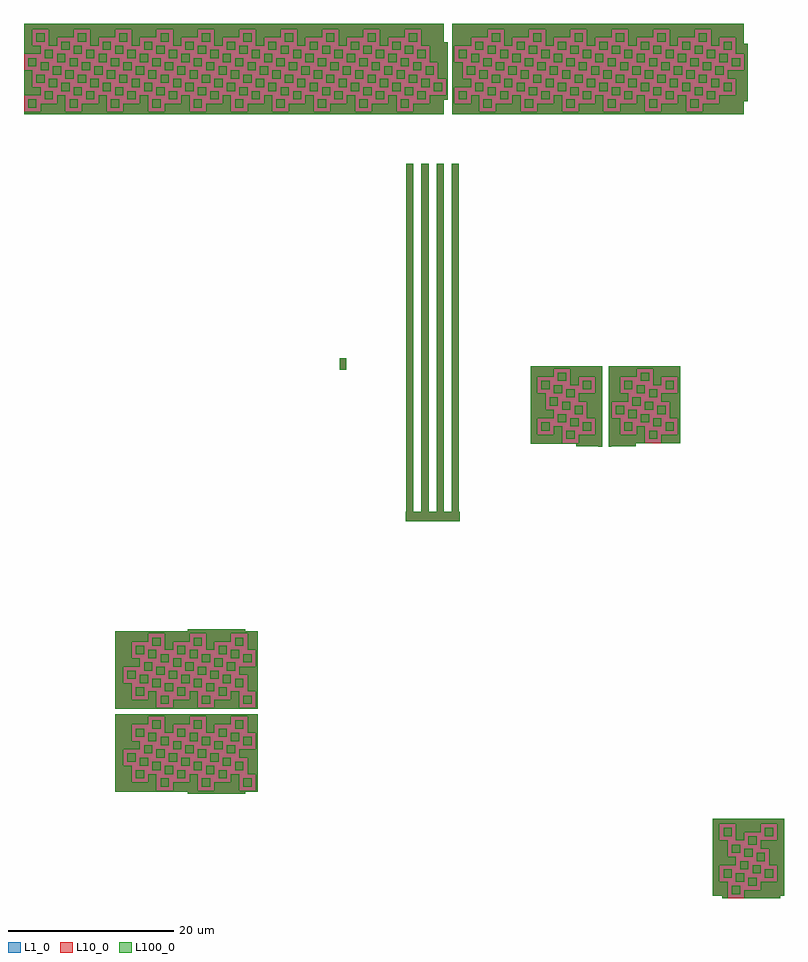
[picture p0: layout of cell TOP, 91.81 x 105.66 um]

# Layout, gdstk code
import gdstk
lib = gdstk.Library(unit=1e-6, precision=1e-09)
def R(c, l, rs):  # rectangles x0, y0, x1, y1
    for r in rs: c.add(gdstk.rectangle(r[:2], r[2:], *l))
def A(c, l, x, y, w, h, nx, ny, dx, dy):  # array of equal rectangles
    R(c, l, [(x+i*dx, y+j*dy, x+i*dx+w, y+j*dy+h) for i in range(nx) for j in range(ny)])
def P(c, l, *ps):  # polygons
    for p in ps: c.add(gdstk.Polygon(p, *l))
L1_0 = (1, 0)
L10_0 = (10, 0)
L100_0 = (100, 0)

pat1 = lib.new_cell('PAT1')
R(pat1, L100_0, [(0,0,1,1)])

top = lib.new_cell('TOP')
R(top, L1_0, [(38.14,63.84,38.95,65.24)])
P(top, L1_0, [(0,94.703),(0,105.656),(50.732,105.656),(50.732,103.431),(51.214,103.431),(51.214,96.462),(50.732,96.462),(50.732,94.703)],
  [(51.75,94.703),(51.75,105.656),(86.941,105.656),(86.941,103.259),(87.423,103.259),(87.423,96.29),(86.941,96.29),(86.941,94.703)],
  [(70.622,54.579),(70.622,64.274),(79.247,64.274),(79.247,54.959),(73.881,54.959),(73.881,54.614),(70.949,54.614),(70.949,54.579)],
  [(84.353,0),(84.353,0.311),(83.18,0.311),(83.18,9.626),(91.805,9.626),(91.805,0.311),(91.322,0.311),(91.322,0)],
  [(11.006,22.874),(11.006,32.24),(19.768,32.24),(19.768,32.499),(26.738,32.499),(26.738,32.24),(28.256,32.24),(28.256,22.874)],
  [(46.108,45.575),(46.108,46.679),(46.178,46.679),(46.178,88.734),(47.04,88.734),(47.04,46.679),(48.006,46.679),(48.006,88.734),(48.868,88.734),(48.868,46.679),(49.834,46.679),(49.834,88.734),(50.697,88.734),(50.697,46.679),(51.663,46.679),(51.663,88.734),(52.526,88.734),(52.526,46.679),(52.629,46.679),(52.629,45.575)],
  [(19.768,12.609),(19.768,12.869),(11.006,12.869),(11.006,22.235),(28.256,22.235),(28.256,12.869),(26.738,12.869),(26.738,12.609)],
  [(69.396,54.579),(69.396,54.614),(66.705,54.614),(66.705,54.906),(61.203,54.906),(61.203,64.274),(69.828,64.274),(69.828,54.579)])
R(top, L10_0, [(38.14,63.84,38.95,65.24)])
P(top, L10_0, [(0,94.703),(0,105.656),(50.732,105.656),(50.732,103.431),(51.214,103.431),(51.214,96.462),(50.732,96.462),(50.732,94.703)],
  [(51.75,94.703),(51.75,105.656),(86.941,105.656),(86.941,103.259),(87.423,103.259),(87.423,96.29),(86.941,96.29),(86.941,94.703)],
  [(70.622,54.579),(70.622,64.274),(79.247,64.274),(79.247,54.959),(73.881,54.959),(73.881,54.614),(70.949,54.614),(70.949,54.579)],
  [(84.353,0),(84.353,0.311),(83.18,0.311),(83.18,9.626),(91.805,9.626),(91.805,0.311),(91.322,0.311),(91.322,0)],
  [(11.006,22.874),(11.006,32.24),(19.768,32.24),(19.768,32.499),(26.738,32.499),(26.738,32.24),(28.256,32.24),(28.256,22.874)],
  [(46.108,45.575),(46.108,46.679),(46.178,46.679),(46.178,88.734),(47.04,88.734),(47.04,46.679),(48.006,46.679),(48.006,88.734),(48.868,88.734),(48.868,46.679),(49.834,46.679),(49.834,88.734),(50.697,88.734),(50.697,46.679),(51.663,46.679),(51.663,88.734),(52.526,88.734),(52.526,46.679),(52.629,46.679),(52.629,45.575)],
  [(19.768,12.609),(19.768,12.869),(11.006,12.869),(11.006,22.235),(28.256,22.235),(28.256,12.869),(26.738,12.869),(26.738,12.609)],
  [(69.396,54.579),(69.396,54.614),(66.705,54.614),(66.705,54.906),(61.203,54.906),(61.203,64.274),(69.828,64.274),(69.828,54.579)])
A(top, L100_0, 14, 16, 1, 1, 3, 2, 5, 10)
A(top, L100_0, 15, 19, 0.903, 1, 3, 2, 5, 10)
A(top, L100_0, 15.903, 19, 0.097, 1, 3, 2, 5, 10)
A(top, L100_0, 46.178, 47.828, 0.862, 5, 1, 8, 0, 5)
A(top, L100_0, 48.006, 47.828, 0.862, 5, 1, 8, 0, 5)
A(top, L100_0, 49.834, 47.828, 0.863, 5, 1, 8, 0, 5)
A(top, L100_0, 51.663, 47.828, 0.863, 5, 1, 8, 0, 5)
A(top, L100_0, 6, 97, 1, 0.828, 9, 2, 5, 5)
A(top, L100_0, 56, 97, 1, 0.828, 6, 2, 5, 5)
A(top, L100_0, 6, 97.828, 1, 0.172, 9, 2, 5, 5)
A(top, L100_0, 56, 97.828, 1, 0.172, 6, 2, 5, 5)
A(top, L100_0, 3, 98, 1, 1, 10, 1, 5, 0)
A(top, L100_0, 58, 98, 1, 1, 6, 1, 5, 0)
A(top, L100_0, 5, 99, 0.903, 1, 9, 1, 5, 0)
A(top, L100_0, 5.903, 99, 0.097, 1, 9, 1, 5, 0)
A(top, L100_0, 55, 99, 0.903, 1, 7, 1, 5, 0)
A(top, L100_0, 55.903, 99, 0.097, 1, 6, 1, 5, 0)
A(top, L100_0, 2, 100, 1, 1, 10, 1, 5, 0)
A(top, L100_0, 57, 100, 1, 1, 6, 1, 5, 0)
A(top, L100_0, 4, 101, 1, 1, 9, 1, 5, 0)
A(top, L100_0, 54, 101, 1, 1, 7, 1, 5, 0)
R(top, L100_0, [(86,2,87,2.828), (86,2.828,87,3), (88,3,89,4), (85.903,4,86,5), (87,5,88,6), (86,7,87,7.828), (19.768,12.609,20.903,12.828), (20.903,12.609,25.903,12.828), (25.903,12.609,26.738,12.828), (17,15,18,16), (22,15,23,16), (16,17,17,17.828), (21,17,22,17.828), (16,17.828,17,18), (21,17.828,22,18), (18,18,19,19), (23,18,24,19), (17,25,18,26), (22,25,23,26), (16,27,17,27.828), (21,27,22,27.828), (16,27.828,17,28), (21,27.828,22,28), (18,28,19,29), (23,28,24,29), (70.622,54.579,70.903,57.828), (66,57,67,57.828), (76,57,77,57.828), (66,57.828,67,58), (70.622,57.828,70.903,62.828), (76,57.828,77,58), (73,58,74,59), (65,59,65.903,60), (65.903,59,66,60), (75,59,75.903,60), (75.903,59,76,60), (64,61,65,62), (74,61,75,62), (66,62,67,62.828), (76,62,77,62.828), (70.622,62.828,70.903,64.274), (38.14,63.84,38.95,65.24), (46.178,87.828,47.04,88.734), (48.006,87.828,48.868,88.734), (49.834,87.828,50.697,88.734), (51.663,87.828,52.526,88.734), (0,94.703,0.903,95), (0,97,0.903,97.828), (0.903,97,2,97.828), (0,97.828,0.903,100), (0,102,0.903,102.828), (0.903,102,2,102.828), (0,102.828,0.903,105.656), (50.903,102.828,51.214,103.431)])
P(top, L100_0, [(40.903,94.703),(40.903,95),(42,95),(42,96),(44,96),(44,97),(45,97),(45,95),(45.903,95),(45.903,94.703)],
  [(43,103),(43,105),(41,105),(41,104),(40.903,104),(40.903,105.656),(45.903,105.656),(45.903,104),(44,104),(44,103)],
  [(69.396,54.579),(69.396,54.614),(66.705,54.614),(66.705,54.906),(65.903,54.906),(65.903,55),(67,55),(67,56),(69,56),(69,57.828),(69.828,57.828),(69.828,54.579)],
  [(69,57.828),(69,58),(68,58),(68,60),(67,60),(67,61),(69,61),(69,62.828),(69.828,62.828),(69.828,57.828)],
  [(66,62.828),(66,64),(65.903,64),(65.903,64.274),(69.828,64.274),(69.828,62.828),(69,62.828),(69,63),(67,63),(67,62.828)],
  [(65.903,94.703),(65.903,95),(67,95),(67,96),(69,96),(69,97),(70,97),(70,95),(70.903,95),(70.903,94.703)],
  [(68,103),(68,105),(66,105),(66,104),(65.903,104),(65.903,105.656),(70.903,105.656),(70.903,104),(69,104),(69,103)],
  [(70.903,94.703),(70.903,95),(72,95),(72,96),(74,96),(74,97),(75,97),(75,95),(75.903,95),(75.903,94.703)],
  [(73,103),(73,105),(71,105),(71,104),(70.903,104),(70.903,105.656),(75.903,105.656),(75.903,104),(74,104),(74,103)],
  [(75.903,94.703),(75.903,95),(77,95),(77,96),(79,96),(79,97),(80,97),(80,95),(80.903,95),(80.903,94.703)],
  [(78,103),(78,105),(76,105),(76,104),(75.903,104),(75.903,105.656),(80.903,105.656),(80.903,104),(79,104),(79,103)],
  [(80.903,94.703),(80.903,95),(82,95),(82,96),(84,96),(84,97),(85.903,97),(85.903,94.703)],
  [(83,103),(83,105),(81,105),(81,104),(80.903,104),(80.903,105.656),(85.903,105.656),(85.903,104),(84,104),(84,103)],
  [(85.903,94.703),(85.903,97),(86,97),(86,97.828),(87.423,97.828),(87.423,96.29),(86.941,96.29),(86.941,94.703)],
  [(86,97.828),(86,99),(85.903,99),(85.903,100),(87,100),(87,102),(86,102),(86,102.828),(87.423,102.828),(87.423,97.828)],
  [(86,102.828),(86,104),(85.903,104),(85.903,105.656),(86.941,105.656),(86.941,103.259),(87.423,103.259),(87.423,102.828)],
  [(63,103),(63,105),(61,105),(61,104),(60.903,104),(60.903,105.656),(65.903,105.656),(65.903,104),(64,104),(64,103)],
  [(45.903,94.703),(45.903,95),(47,95),(47,96),(49,96),(49,97),(50.903,97),(50.903,96.462),(50.732,96.462),(50.732,94.703)],
  [(50,99),(50,101),(49,101),(49,102.828),(50.903,102.828),(50.903,99)],
  [(49,102.828),(49,103),(48,103),(48,105),(46,105),(46,104),(45.903,104),(45.903,105.656),(50.732,105.656),(50.732,103.431),(50.903,103.431),(50.903,102.828)],
  [(50.903,96.462),(50.903,97),(51,97),(51,97.828),(51.214,97.828),(51.214,96.462)],
  [(51.75,94.703),(51.75,97.828),(52,97.828),(52,96),(54,96),(54,97),(55,97),(55,95),(55.903,95),(55.903,94.703)],
  [(51,97.828),(51,99),(50.903,99),(50.903,102.828),(51.214,102.828),(51.214,97.828)],
  [(51.75,97.828),(51.75,102.828),(52,102.828),(52,101),(53,101),(53,99),(54,99),(54,98),(52,98),(52,97.828)],
  [(51.75,102.828),(51.75,105.656),(55.903,105.656),(55.903,104),(54,104),(54,103),(52,103),(52,102.828)],
  [(55.903,94.703),(55.903,95),(57,95),(57,96),(59,96),(59,97),(60,97),(60,95),(60.903,95),(60.903,94.703)],
  [(58,103),(58,105),(56,105),(56,104),(55.903,104),(55.903,105.656),(60.903,105.656),(60.903,104),(59,104),(59,103)],
  [(60.903,94.703),(60.903,95),(62,95),(62,96),(64,96),(64,97),(65,97),(65,95),(65.903,95),(65.903,94.703)],
  [(61.203,54.906),(61.203,57.828),(62,57.828),(62,56),(64,56),(64,57),(65,57),(65,55),(65.903,55),(65.903,54.906)],
  [(61.203,57.828),(61.203,62.828),(62,62.828),(62,61),(63,61),(63,59),(64,59),(64,58),(62,58),(62,57.828)],
  [(61.203,62.828),(61.203,64.274),(65.903,64.274),(65.903,64),(64,64),(64,63),(62,63),(62,62.828)],
  [(75.903,54.959),(75.903,55),(77,55),(77,56),(79,56),(79,57.828),(79.247,57.828),(79.247,54.959)],
  [(79,57.828),(79,58),(78,58),(78,60),(77,60),(77,61),(79,61),(79,62.828),(79.247,62.828),(79.247,57.828)],
  [(76,62.828),(76,64),(75.903,64),(75.903,64.274),(79.247,64.274),(79.247,62.828),(79,62.828),(79,63),(77,63),(77,62.828)],
  [(70.903,54.579),(70.903,57.828),(72,57.828),(72,56),(74,56),(74,57),(75,57),(75,55),(75.903,55),(75.903,54.959),(73.881,54.959),(73.881,54.614),(70.949,54.614),(70.949,54.579)],
  [(70.903,57.828),(70.903,62.828),(72,62.828),(72,61),(73,61),(73,60),(71,60),(71,58),(72,58),(72,57.828)],
  [(70.903,62.828),(70.903,64.274),(75.903,64.274),(75.903,64),(74,64),(74,63),(72,63),(72,62.828)],
  [(23,103),(23,105),(21,105),(21,104),(20.903,104),(20.903,105.656),(25.903,105.656),(25.903,104),(24,104),(24,103)],
  [(25.903,94.703),(25.903,95),(27,95),(27,96),(29,96),(29,97),(30,97),(30,95),(30.903,95),(30.903,94.703)],
  [(28,103),(28,105),(26,105),(26,104),(25.903,104),(25.903,105.656),(30.903,105.656),(30.903,104),(29,104),(29,103)],
  [(30.903,94.703),(30.903,95),(32,95),(32,96),(34,96),(34,97),(35,97),(35,95),(35.903,95),(35.903,94.703)],
  [(33,103),(33,105),(31,105),(31,104),(30.903,104),(30.903,105.656),(35.903,105.656),(35.903,104),(34,104),(34,103)],
  [(35.903,94.703),(35.903,95),(37,95),(37,96),(39,96),(39,97),(40,97),(40,95),(40.903,95),(40.903,94.703)],
  [(38,103),(38,105),(36,105),(36,104),(35.903,104),(35.903,105.656),(40.903,105.656),(40.903,104),(39,104),(39,103)],
  [(0.903,94.703),(0.903,95),(2,95),(2,96),(4,96),(4,97),(5,97),(5,95),(5.903,95),(5.903,94.703)],
  [(0.903,97.828),(0.903,100),(1,100),(1,98),(2,98),(2,97.828)],
  [(0.903,102.828),(0.903,105.656),(5.903,105.656),(5.903,104),(4,104),(4,103),(3,103),(3,105),(1,105),(1,103),(2,103),(2,102.828)],
  [(5.903,94.703),(5.903,95),(7,95),(7,96),(9,96),(9,97),(10,97),(10,95),(10.903,95),(10.903,94.703)],
  [(8,103),(8,105),(6,105),(6,104),(5.903,104),(5.903,105.656),(10.903,105.656),(10.903,104),(9,104),(9,103)],
  [(10.903,94.703),(10.903,95),(12,95),(12,96),(14,96),(14,97),(15,97),(15,95),(15.903,95),(15.903,94.703)],
  [(13,103),(13,105),(11,105),(11,104),(10.903,104),(10.903,105.656),(15.903,105.656),(15.903,104),(14,104),(14,103)],
  [(15.903,94.703),(15.903,95),(17,95),(17,96),(19,96),(19,97),(20,97),(20,95),(20.903,95),(20.903,94.703)],
  [(18,103),(18,105),(16,105),(16,104),(15.903,104),(15.903,105.656),(20.903,105.656),(20.903,104),(19,104),(19,103)],
  [(20.903,94.703),(20.903,95),(22,95),(22,96),(24,96),(24,97),(25,97),(25,95),(25.903,95),(25.903,94.703)],
  [(22,30),(22,32),(20.903,32),(20.903,32.499),(25.903,32.499),(25.903,32),(25,32),(25,31),(23,31),(23,30)],
  [(19.768,12.828),(19.768,12.869),(15.903,12.869),(15.903,15),(16,15),(16,13),(18,13),(18,14),(20,14),(20,15),(20.903,15),(20.903,12.828)],
  [(17,20),(17,22),(15.903,22),(15.903,22.235),(20.903,22.235),(20.903,22),(20,22),(20,21),(18,21),(18,20)],
  [(15.903,22.874),(15.903,25),(16,25),(16,23),(18,23),(18,24),(20,24),(20,25),(20.903,25),(20.903,22.874)],
  [(25.903,12.828),(25.903,15),(26,15),(26,13),(28,13),(28,15),(27,15),(27,17),(26,17),(26,17.828),(28.256,17.828),(28.256,12.869),(26.738,12.869),(26.738,12.828)],
  [(26,17.828),(26,18),(28,18),(28,20),(27,20),(27,22),(25.903,22),(25.903,22.235),(28.256,22.235),(28.256,17.828)],
  [(25.903,22.874),(25.903,25),(26,25),(26,23),(28,23),(28,25),(27,25),(27,27),(26,27),(26,27.828),(28.256,27.828),(28.256,22.874)],
  [(26,27.828),(26,28),(28,28),(28,30),(27,30),(27,32),(25.903,32),(25.903,32.499),(26.738,32.499),(26.738,32.24),(28.256,32.24),(28.256,27.828)],
  [(17,30),(17,32),(15.903,32),(15.903,32.24),(19.768,32.24),(19.768,32.499),(20.903,32.499),(20.903,32),(20,32),(20,31),(18,31),(18,30)],
  [(11.006,17.828),(11.006,22.235),(15.903,22.235),(15.903,22),(15,22),(15,21),(13,21),(13,19),(14,19),(14,18),(12,18),(12,17.828)],
  [(11.006,22.874),(11.006,27.828),(12,27.828),(12,26),(13,26),(13,24),(15,24),(15,25),(15.903,25),(15.903,22.874)],
  [(11.006,27.828),(11.006,32.24),(15.903,32.24),(15.903,32),(15,32),(15,31),(13,31),(13,29),(14,29),(14,28),(12,28),(12,27.828)],
  [(11.006,12.869),(11.006,17.828),(12,17.828),(12,16),(13,16),(13,14),(15,14),(15,15),(15.903,15),(15.903,12.869)],
  [(20.903,12.828),(20.903,15),(21,15),(21,13),(23,13),(23,14),(25,14),(25,15),(25.903,15),(25.903,12.828)],
  [(22,20),(22,22),(20.903,22),(20.903,22.235),(25.903,22.235),(25.903,22),(25,22),(25,21),(23,21),(23,20)],
  [(20.903,22.874),(20.903,25),(21,25),(21,23),(23,23),(23,24),(25,24),(25,25),(25.903,25),(25.903,22.874)],
  [(46.108,45.575),(46.108,46.679),(46.178,46.679),(46.178,47.828),(47.04,47.828),(47.04,46.679),(48.006,46.679),(48.006,47.828),(48.868,47.828),(48.868,46.679),(49.834,46.679),(49.834,47.828),(50.697,47.828),(50.697,46.679),(50.903,46.679),(50.903,45.575)],
  [(84.353,0),(84.353,0.311),(83.18,0.311),(83.18,2.828),(84,2.828),(84,2),(85,2),(85,0)],
  [(83.18,2.828),(83.18,7.828),(84,7.828),(84,7),(85,7),(85,5),(85.903,5),(85.903,4),(84,4),(84,2.828)],
  [(83.18,7.828),(83.18,9.626),(85.903,9.626),(85.903,9),(84,9),(84,7.828)],
  [(50.903,45.575),(50.903,46.679),(51.663,46.679),(51.663,47.828),(52.526,47.828),(52.526,46.679),(52.629,46.679),(52.629,45.575)],
  [(87,0),(87,1),(89,1),(89,2),(90.903,2),(90.903,0)],
  [(90,4),(90,6),(89,6),(89,7),(90.903,7),(90.903,4)],
  [(86,7.828),(86,9),(85.903,9),(85.903,9.626),(90.903,9.626),(90.903,9),(89,9),(89,8),(87,8),(87,7.828)],
  [(90.903,0),(90.903,2),(91,2),(91,2.828),(91.805,2.828),(91.805,0.311),(91.322,0.311),(91.322,0)],
  [(91,2.828),(91,4),(90.903,4),(90.903,7),(91,7),(91,7.828),(91.805,7.828),(91.805,2.828)],
  [(91,7.828),(91,9),(90.903,9),(90.903,9.626),(91.805,9.626),(91.805,7.828)])
r = gdstk.Reference(pat1, (40.5,95.5)); r.repetition = gdstk.Repetition(2, 1, v1=(5,0), v2=(0,0)); top.add(r)
r = gdstk.Reference(pat1, (40.5,100.5)); r.repetition = gdstk.Repetition(2, 1, v1=(5,0), v2=(0,0)); top.add(r)
r = gdstk.Reference(pat1, (44.5,97.5)); r.repetition = gdstk.Repetition(2, 1, v1=(5,0), v2=(0,0)); top.add(r)
top.add(gdstk.Reference(pat1, (67.5,56.5)))
r = gdstk.Reference(pat1, (67.5,56.5)); r.repetition = gdstk.Repetition(1, 2, v1=(0,0), v2=(0,5)); top.add(r)
top.add(gdstk.Reference(pat1, (67.5,61.5)))
r = gdstk.Reference(pat1, (65.5,95.5)); r.repetition = gdstk.Repetition(2, 1, v1=(5,0), v2=(0,0)); top.add(r)
top.add(gdstk.Reference(pat1, (67.5,96.5)))
r = gdstk.Reference(pat1, (64.5,97.5)); r.repetition = gdstk.Repetition(2, 1, v1=(5,0), v2=(0,0)); top.add(r)
r = gdstk.Reference(pat1, (65.5,100.5)); r.repetition = gdstk.Repetition(2, 1, v1=(5,0), v2=(0,0)); top.add(r)
r = gdstk.Reference(pat1, (67.5,96.5)); r.repetition = gdstk.Repetition(1, 2, v1=(0,0), v2=(0,5)); top.add(r)
r = gdstk.Reference(pat1, (64.5,97.5)); r.repetition = gdstk.Repetition(2, 2, v1=(5,0), v2=(0,5)); top.add(r)
top.add(gdstk.Reference(pat1, (67.5,101.5)))
r = gdstk.Reference(pat1, (64.5,102.5)); r.repetition = gdstk.Repetition(2, 1, v1=(5,0), v2=(0,0)); top.add(r)
top.add(gdstk.Reference(pat1, (68.5,99.5)))
r = gdstk.Reference(pat1, (70.5,95.5)); r.repetition = gdstk.Repetition(2, 1, v1=(5,0), v2=(0,0)); top.add(r)
top.add(gdstk.Reference(pat1, (72.5,96.5)))
r = gdstk.Reference(pat1, (69.5,97.5)); r.repetition = gdstk.Repetition(2, 1, v1=(5,0), v2=(0,0)); top.add(r)
r = gdstk.Reference(pat1, (70.5,100.5)); r.repetition = gdstk.Repetition(2, 1, v1=(5,0), v2=(0,0)); top.add(r)
r = gdstk.Reference(pat1, (72.5,96.5)); r.repetition = gdstk.Repetition(1, 2, v1=(0,0), v2=(0,5)); top.add(r)
r = gdstk.Reference(pat1, (69.5,97.5)); r.repetition = gdstk.Repetition(2, 2, v1=(5,0), v2=(0,5)); top.add(r)
top.add(gdstk.Reference(pat1, (71.5,98.5)))
top.add(gdstk.Reference(pat1, (73.5,99.5)))
top.add(gdstk.Reference(pat1, (72.5,101.5)))
r = gdstk.Reference(pat1, (69.5,102.5)); r.repetition = gdstk.Repetition(2, 1, v1=(5,0), v2=(0,0)); top.add(r)
top.add(gdstk.Reference(pat1, (71.5,103.5)))
r = gdstk.Reference(pat1, (75.5,95.5)); r.repetition = gdstk.Repetition(2, 1, v1=(5,0), v2=(0,0)); top.add(r)
top.add(gdstk.Reference(pat1, (77.5,96.5)))
r = gdstk.Reference(pat1, (74.5,97.5)); r.repetition = gdstk.Repetition(2, 1, v1=(5,0), v2=(0,0)); top.add(r)
r = gdstk.Reference(pat1, (75.5,100.5)); r.repetition = gdstk.Repetition(2, 1, v1=(5,0), v2=(0,0)); top.add(r)
r = gdstk.Reference(pat1, (77.5,96.5)); r.repetition = gdstk.Repetition(1, 2, v1=(0,0), v2=(0,5)); top.add(r)
r = gdstk.Reference(pat1, (74.5,97.5)); r.repetition = gdstk.Repetition(2, 2, v1=(5,0), v2=(0,5)); top.add(r)
top.add(gdstk.Reference(pat1, (76.5,98.5)))
top.add(gdstk.Reference(pat1, (78.5,99.5)))
top.add(gdstk.Reference(pat1, (77.5,101.5)))
r = gdstk.Reference(pat1, (74.5,102.5)); r.repetition = gdstk.Repetition(2, 1, v1=(5,0), v2=(0,0)); top.add(r)
top.add(gdstk.Reference(pat1, (76.5,103.5)))
top.add(gdstk.Reference(pat1, (80.5,95.5)))
top.add(gdstk.Reference(pat1, (82.5,96.5)))
r = gdstk.Reference(pat1, (79.5,97.5)); r.repetition = gdstk.Repetition(2, 1, v1=(5,0), v2=(0,0)); top.add(r)
r = gdstk.Reference(pat1, (80.5,100.5)); r.repetition = gdstk.Repetition(2, 1, v1=(5,0), v2=(0,0)); top.add(r)
r = gdstk.Reference(pat1, (82.5,96.5)); r.repetition = gdstk.Repetition(1, 2, v1=(0,0), v2=(0,5)); top.add(r)
r = gdstk.Reference(pat1, (79.5,97.5)); r.repetition = gdstk.Repetition(2, 2, v1=(5,0), v2=(0,5)); top.add(r)
top.add(gdstk.Reference(pat1, (81.5,98.5)))
top.add(gdstk.Reference(pat1, (83.5,99.5)))
top.add(gdstk.Reference(pat1, (82.5,101.5)))
r = gdstk.Reference(pat1, (79.5,102.5)); r.repetition = gdstk.Repetition(2, 1, v1=(5,0), v2=(0,0)); top.add(r)
top.add(gdstk.Reference(pat1, (81.5,103.5)))
top.add(gdstk.Reference(pat1, (84.5,97.5)))
top.add(gdstk.Reference(pat1, (85.5,100.5)))
r = gdstk.Reference(pat1, (84.5,97.5)); r.repetition = gdstk.Repetition(1, 2, v1=(0,0), v2=(0,5)); top.add(r)
top.add(gdstk.Reference(pat1, (84.5,102.5)))
top.add(gdstk.Reference(pat1, (47.5,101.5)))
top.add(gdstk.Reference(pat1, (46.5,103.5)))
top.add(gdstk.Reference(pat1, (66.5,98.5)))
top.add(gdstk.Reference(pat1, (49.5,97.5)))
top.add(gdstk.Reference(pat1, (55.5,95.5)))
top.add(gdstk.Reference(pat1, (52.5,96.5)))
top.add(gdstk.Reference(pat1, (66.5,103.5)))
top.add(gdstk.Reference(pat1, (54.5,97.5)))
top.add(gdstk.Reference(pat1, (49.5,97.5)))
top.add(gdstk.Reference(pat1, (55.5,100.5)))
r = gdstk.Reference(pat1, (52.5,96.5)); r.repetition = gdstk.Repetition(1, 2, v1=(0,0), v2=(0,5)); top.add(r)
r = gdstk.Reference(pat1, (54.5,97.5)); r.repetition = gdstk.Repetition(1, 2, v1=(0,0), v2=(0,5)); top.add(r)
top.add(gdstk.Reference(pat1, (53.5,99.5)))
top.add(gdstk.Reference(pat1, (52.5,101.5)))
top.add(gdstk.Reference(pat1, (54.5,102.5)))
r = gdstk.Reference(pat1, (55.5,95.5)); r.repetition = gdstk.Repetition(2, 1, v1=(5,0), v2=(0,0)); top.add(r)
top.add(gdstk.Reference(pat1, (57.5,96.5)))
r = gdstk.Reference(pat1, (54.5,97.5)); r.repetition = gdstk.Repetition(2, 1, v1=(5,0), v2=(0,0)); top.add(r)
r = gdstk.Reference(pat1, (55.5,100.5)); r.repetition = gdstk.Repetition(2, 1, v1=(5,0), v2=(0,0)); top.add(r)
r = gdstk.Reference(pat1, (57.5,96.5)); r.repetition = gdstk.Repetition(1, 2, v1=(0,0), v2=(0,5)); top.add(r)
r = gdstk.Reference(pat1, (54.5,97.5)); r.repetition = gdstk.Repetition(2, 2, v1=(5,0), v2=(0,5)); top.add(r)
top.add(gdstk.Reference(pat1, (56.5,98.5)))
top.add(gdstk.Reference(pat1, (58.5,99.5)))
top.add(gdstk.Reference(pat1, (57.5,101.5)))
r = gdstk.Reference(pat1, (54.5,102.5)); r.repetition = gdstk.Repetition(2, 1, v1=(5,0), v2=(0,0)); top.add(r)
top.add(gdstk.Reference(pat1, (56.5,103.5)))
r = gdstk.Reference(pat1, (60.5,95.5)); r.repetition = gdstk.Repetition(2, 1, v1=(5,0), v2=(0,0)); top.add(r)
top.add(gdstk.Reference(pat1, (62.5,96.5)))
r = gdstk.Reference(pat1, (59.5,97.5)); r.repetition = gdstk.Repetition(2, 1, v1=(5,0), v2=(0,0)); top.add(r)
r = gdstk.Reference(pat1, (60.5,100.5)); r.repetition = gdstk.Repetition(2, 1, v1=(5,0), v2=(0,0)); top.add(r)
r = gdstk.Reference(pat1, (62.5,96.5)); r.repetition = gdstk.Repetition(1, 2, v1=(0,0), v2=(0,5)); top.add(r)
r = gdstk.Reference(pat1, (59.5,97.5)); r.repetition = gdstk.Repetition(2, 2, v1=(5,0), v2=(0,5)); top.add(r)
top.add(gdstk.Reference(pat1, (61.5,98.5)))
top.add(gdstk.Reference(pat1, (63.5,99.5)))
top.add(gdstk.Reference(pat1, (62.5,101.5)))
r = gdstk.Reference(pat1, (59.5,102.5)); r.repetition = gdstk.Repetition(2, 1, v1=(5,0), v2=(0,0)); top.add(r)
top.add(gdstk.Reference(pat1, (61.5,103.5)))
top.add(gdstk.Reference(pat1, (47.5,96.5)))
top.add(gdstk.Reference(pat1, (45.5,95.5)))
top.add(gdstk.Reference(pat1, (45.5,100.5)))
r = gdstk.Reference(pat1, (47.5,96.5)); r.repetition = gdstk.Repetition(1, 2, v1=(0,0), v2=(0,5)); top.add(r)
top.add(gdstk.Reference(pat1, (49.5,97.5)))
top.add(gdstk.Reference(pat1, (46.5,98.5)))
top.add(gdstk.Reference(pat1, (48.5,99.5)))
top.add(gdstk.Reference(pat1, (64.5,62.5)))
top.add(gdstk.Reference(pat1, (65.5,55.5)))
top.add(gdstk.Reference(pat1, (62.5,56.5)))
top.add(gdstk.Reference(pat1, (65.5,55.5)))
top.add(gdstk.Reference(pat1, (64.5,57.5)))
top.add(gdstk.Reference(pat1, (64.5,57.5)))
top.add(gdstk.Reference(pat1, (65.5,60.5)))
top.add(gdstk.Reference(pat1, (65.5,60.5)))
r = gdstk.Reference(pat1, (64.5,57.5)); r.repetition = gdstk.Repetition(1, 2, v1=(0,0), v2=(0,5)); top.add(r)
top.add(gdstk.Reference(pat1, (66.5,58.5)))
r = gdstk.Reference(pat1, (62.5,56.5)); r.repetition = gdstk.Repetition(1, 2, v1=(0,0), v2=(0,5)); top.add(r)
top.add(gdstk.Reference(pat1, (64.5,62.5)))
r = gdstk.Reference(pat1, (64.5,57.5)); r.repetition = gdstk.Repetition(1, 2, v1=(0,0), v2=(0,5)); top.add(r)
top.add(gdstk.Reference(pat1, (63.5,59.5)))
top.add(gdstk.Reference(pat1, (62.5,61.5)))
top.add(gdstk.Reference(pat1, (72.5,61.5)))
top.add(gdstk.Reference(pat1, (74.5,62.5)))
top.add(gdstk.Reference(pat1, (75.5,55.5)))
top.add(gdstk.Reference(pat1, (75.5,55.5)))
top.add(gdstk.Reference(pat1, (77.5,56.5)))
top.add(gdstk.Reference(pat1, (74.5,57.5)))
top.add(gdstk.Reference(pat1, (75.5,60.5)))
r = gdstk.Reference(pat1, (77.5,56.5)); r.repetition = gdstk.Repetition(1, 2, v1=(0,0), v2=(0,5)); top.add(r)
r = gdstk.Reference(pat1, (74.5,57.5)); r.repetition = gdstk.Repetition(1, 2, v1=(0,0), v2=(0,5)); top.add(r)
top.add(gdstk.Reference(pat1, (76.5,58.5)))
top.add(gdstk.Reference(pat1, (77.5,61.5)))
top.add(gdstk.Reference(pat1, (74.5,62.5)))
top.add(gdstk.Reference(pat1, (72.5,56.5)))
top.add(gdstk.Reference(pat1, (74.5,57.5)))
top.add(gdstk.Reference(pat1, (75.5,60.5)))
r = gdstk.Reference(pat1, (72.5,56.5)); r.repetition = gdstk.Repetition(1, 2, v1=(0,0), v2=(0,5)); top.add(r)
r = gdstk.Reference(pat1, (74.5,57.5)); r.repetition = gdstk.Repetition(1, 2, v1=(0,0), v2=(0,5)); top.add(r)
top.add(gdstk.Reference(pat1, (71.5,58.5)))
top.add(gdstk.Reference(pat1, (73.5,59.5)))
r = gdstk.Reference(pat1, (20.5,95.5)); r.repetition = gdstk.Repetition(2, 1, v1=(5,0), v2=(0,0)); top.add(r)
top.add(gdstk.Reference(pat1, (22.5,96.5)))
r = gdstk.Reference(pat1, (19.5,97.5)); r.repetition = gdstk.Repetition(2, 1, v1=(5,0), v2=(0,0)); top.add(r)
r = gdstk.Reference(pat1, (20.5,100.5)); r.repetition = gdstk.Repetition(2, 1, v1=(5,0), v2=(0,0)); top.add(r)
r = gdstk.Reference(pat1, (22.5,96.5)); r.repetition = gdstk.Repetition(1, 2, v1=(0,0), v2=(0,5)); top.add(r)
r = gdstk.Reference(pat1, (19.5,97.5)); r.repetition = gdstk.Repetition(2, 2, v1=(5,0), v2=(0,5)); top.add(r)
top.add(gdstk.Reference(pat1, (22.5,101.5)))
r = gdstk.Reference(pat1, (19.5,102.5)); r.repetition = gdstk.Repetition(2, 1, v1=(5,0), v2=(0,0)); top.add(r)
top.add(gdstk.Reference(pat1, (23.5,99.5)))
r = gdstk.Reference(pat1, (25.5,95.5)); r.repetition = gdstk.Repetition(2, 1, v1=(5,0), v2=(0,0)); top.add(r)
top.add(gdstk.Reference(pat1, (27.5,96.5)))
r = gdstk.Reference(pat1, (24.5,97.5)); r.repetition = gdstk.Repetition(2, 1, v1=(5,0), v2=(0,0)); top.add(r)
r = gdstk.Reference(pat1, (25.5,100.5)); r.repetition = gdstk.Repetition(2, 1, v1=(5,0), v2=(0,0)); top.add(r)
r = gdstk.Reference(pat1, (27.5,96.5)); r.repetition = gdstk.Repetition(1, 2, v1=(0,0), v2=(0,5)); top.add(r)
r = gdstk.Reference(pat1, (24.5,97.5)); r.repetition = gdstk.Repetition(2, 2, v1=(5,0), v2=(0,5)); top.add(r)
top.add(gdstk.Reference(pat1, (26.5,98.5)))
top.add(gdstk.Reference(pat1, (28.5,99.5)))
top.add(gdstk.Reference(pat1, (27.5,101.5)))
r = gdstk.Reference(pat1, (24.5,102.5)); r.repetition = gdstk.Repetition(2, 1, v1=(5,0), v2=(0,0)); top.add(r)
top.add(gdstk.Reference(pat1, (26.5,103.5)))
r = gdstk.Reference(pat1, (30.5,95.5)); r.repetition = gdstk.Repetition(2, 1, v1=(5,0), v2=(0,0)); top.add(r)
top.add(gdstk.Reference(pat1, (32.5,96.5)))
r = gdstk.Reference(pat1, (29.5,97.5)); r.repetition = gdstk.Repetition(2, 1, v1=(5,0), v2=(0,0)); top.add(r)
r = gdstk.Reference(pat1, (30.5,100.5)); r.repetition = gdstk.Repetition(2, 1, v1=(5,0), v2=(0,0)); top.add(r)
r = gdstk.Reference(pat1, (32.5,96.5)); r.repetition = gdstk.Repetition(1, 2, v1=(0,0), v2=(0,5)); top.add(r)
r = gdstk.Reference(pat1, (29.5,97.5)); r.repetition = gdstk.Repetition(2, 2, v1=(5,0), v2=(0,5)); top.add(r)
top.add(gdstk.Reference(pat1, (31.5,98.5)))
top.add(gdstk.Reference(pat1, (33.5,99.5)))
top.add(gdstk.Reference(pat1, (32.5,101.5)))
r = gdstk.Reference(pat1, (29.5,102.5)); r.repetition = gdstk.Repetition(2, 1, v1=(5,0), v2=(0,0)); top.add(r)
top.add(gdstk.Reference(pat1, (31.5,103.5)))
r = gdstk.Reference(pat1, (35.5,95.5)); r.repetition = gdstk.Repetition(2, 1, v1=(5,0), v2=(0,0)); top.add(r)
top.add(gdstk.Reference(pat1, (37.5,96.5)))
r = gdstk.Reference(pat1, (34.5,97.5)); r.repetition = gdstk.Repetition(2, 1, v1=(5,0), v2=(0,0)); top.add(r)
r = gdstk.Reference(pat1, (35.5,100.5)); r.repetition = gdstk.Repetition(2, 1, v1=(5,0), v2=(0,0)); top.add(r)
r = gdstk.Reference(pat1, (37.5,96.5)); r.repetition = gdstk.Repetition(1, 2, v1=(0,0), v2=(0,5)); top.add(r)
r = gdstk.Reference(pat1, (34.5,97.5)); r.repetition = gdstk.Repetition(2, 2, v1=(5,0), v2=(0,5)); top.add(r)
top.add(gdstk.Reference(pat1, (36.5,98.5)))
top.add(gdstk.Reference(pat1, (38.5,99.5)))
top.add(gdstk.Reference(pat1, (37.5,101.5)))
r = gdstk.Reference(pat1, (34.5,102.5)); r.repetition = gdstk.Repetition(2, 1, v1=(5,0), v2=(0,0)); top.add(r)
top.add(gdstk.Reference(pat1, (36.5,103.5)))
top.add(gdstk.Reference(pat1, (42.5,96.5)))
r = gdstk.Reference(pat1, (39.5,97.5)); r.repetition = gdstk.Repetition(2, 1, v1=(5,0), v2=(0,0)); top.add(r)
r = gdstk.Reference(pat1, (42.5,96.5)); r.repetition = gdstk.Repetition(1, 2, v1=(0,0), v2=(0,5)); top.add(r)
r = gdstk.Reference(pat1, (39.5,97.5)); r.repetition = gdstk.Repetition(2, 2, v1=(5,0), v2=(0,5)); top.add(r)
top.add(gdstk.Reference(pat1, (41.5,98.5)))
top.add(gdstk.Reference(pat1, (43.5,99.5)))
top.add(gdstk.Reference(pat1, (42.5,101.5)))
r = gdstk.Reference(pat1, (39.5,102.5)); r.repetition = gdstk.Repetition(2, 1, v1=(5,0), v2=(0,0)); top.add(r)
top.add(gdstk.Reference(pat1, (41.5,103.5)))
r = gdstk.Reference(pat1, (44.5,97.5)); r.repetition = gdstk.Repetition(1, 2, v1=(0,0), v2=(0,5)); top.add(r)
top.add(gdstk.Reference(pat1, (44.5,102.5)))
r = gdstk.Reference(pat1, (14.5,102.5)); r.repetition = gdstk.Repetition(2, 1, v1=(5,0), v2=(0,0)); top.add(r)
top.add(gdstk.Reference(pat1, (16.5,103.5)))
r = gdstk.Reference(pat1, (9.5,97.5)); r.repetition = gdstk.Repetition(2, 2, v1=(5,0), v2=(0,5)); top.add(r)
top.add(gdstk.Reference(pat1, (11.5,98.5)))
top.add(gdstk.Reference(pat1, (13.5,99.5)))
top.add(gdstk.Reference(pat1, (12.5,101.5)))
r = gdstk.Reference(pat1, (9.5,102.5)); r.repetition = gdstk.Repetition(2, 1, v1=(5,0), v2=(0,0)); top.add(r)
top.add(gdstk.Reference(pat1, (11.5,103.5)))
top.add(gdstk.Reference(pat1, (0.5,95.5)))
top.add(gdstk.Reference(pat1, (21.5,98.5)))
r = gdstk.Reference(pat1, (15.5,95.5)); r.repetition = gdstk.Repetition(2, 1, v1=(5,0), v2=(0,0)); top.add(r)
top.add(gdstk.Reference(pat1, (0.5,100.5)))
top.add(gdstk.Reference(pat1, (17.5,96.5)))
r = gdstk.Reference(pat1, (14.5,97.5)); r.repetition = gdstk.Repetition(2, 1, v1=(5,0), v2=(0,0)); top.add(r)
top.add(gdstk.Reference(pat1, (21.5,103.5)))
r = gdstk.Reference(pat1, (15.5,100.5)); r.repetition = gdstk.Repetition(2, 1, v1=(5,0), v2=(0,0)); top.add(r)
r = gdstk.Reference(pat1, (17.5,96.5)); r.repetition = gdstk.Repetition(1, 2, v1=(0,0), v2=(0,5)); top.add(r)
r = gdstk.Reference(pat1, (14.5,97.5)); r.repetition = gdstk.Repetition(2, 2, v1=(5,0), v2=(0,5)); top.add(r)
top.add(gdstk.Reference(pat1, (16.5,98.5)))
r = gdstk.Reference(pat1, (0.5,95.5)); r.repetition = gdstk.Repetition(2, 1, v1=(5,0), v2=(0,0)); top.add(r)
top.add(gdstk.Reference(pat1, (2.5,96.5)))
top.add(gdstk.Reference(pat1, (4.5,97.5)))
r = gdstk.Reference(pat1, (0.5,100.5)); r.repetition = gdstk.Repetition(2, 1, v1=(5,0), v2=(0,0)); top.add(r)
r = gdstk.Reference(pat1, (2.5,96.5)); r.repetition = gdstk.Repetition(1, 2, v1=(0,0), v2=(0,5)); top.add(r)
top.add(gdstk.Reference(pat1, (18.5,99.5)))
r = gdstk.Reference(pat1, (4.5,97.5)); r.repetition = gdstk.Repetition(1, 2, v1=(0,0), v2=(0,5)); top.add(r)
top.add(gdstk.Reference(pat1, (1.5,98.5)))
top.add(gdstk.Reference(pat1, (3.5,99.5)))
top.add(gdstk.Reference(pat1, (2.5,101.5)))
top.add(gdstk.Reference(pat1, (17.5,101.5)))
top.add(gdstk.Reference(pat1, (4.5,102.5)))
top.add(gdstk.Reference(pat1, (1.5,103.5)))
r = gdstk.Reference(pat1, (5.5,95.5)); r.repetition = gdstk.Repetition(2, 1, v1=(5,0), v2=(0,0)); top.add(r)
top.add(gdstk.Reference(pat1, (7.5,96.5)))
r = gdstk.Reference(pat1, (4.5,97.5)); r.repetition = gdstk.Repetition(2, 1, v1=(5,0), v2=(0,0)); top.add(r)
r = gdstk.Reference(pat1, (5.5,100.5)); r.repetition = gdstk.Repetition(2, 1, v1=(5,0), v2=(0,0)); top.add(r)
r = gdstk.Reference(pat1, (7.5,96.5)); r.repetition = gdstk.Repetition(1, 2, v1=(0,0), v2=(0,5)); top.add(r)
r = gdstk.Reference(pat1, (4.5,97.5)); r.repetition = gdstk.Repetition(2, 2, v1=(5,0), v2=(0,5)); top.add(r)
top.add(gdstk.Reference(pat1, (6.5,98.5)))
top.add(gdstk.Reference(pat1, (8.5,99.5)))
top.add(gdstk.Reference(pat1, (7.5,101.5)))
r = gdstk.Reference(pat1, (4.5,102.5)); r.repetition = gdstk.Repetition(2, 1, v1=(5,0), v2=(0,0)); top.add(r)
top.add(gdstk.Reference(pat1, (6.5,103.5)))
r = gdstk.Reference(pat1, (10.5,95.5)); r.repetition = gdstk.Repetition(2, 1, v1=(5,0), v2=(0,0)); top.add(r)
top.add(gdstk.Reference(pat1, (12.5,96.5)))
r = gdstk.Reference(pat1, (9.5,97.5)); r.repetition = gdstk.Repetition(2, 1, v1=(5,0), v2=(0,0)); top.add(r)
r = gdstk.Reference(pat1, (10.5,100.5)); r.repetition = gdstk.Repetition(2, 1, v1=(5,0), v2=(0,0)); top.add(r)
r = gdstk.Reference(pat1, (12.5,96.5)); r.repetition = gdstk.Repetition(1, 2, v1=(0,0), v2=(0,5)); top.add(r)
top.add(gdstk.Reference(pat1, (21.5,23.5)))
top.add(gdstk.Reference(pat1, (23.5,24.5)))
r = gdstk.Reference(pat1, (20.5,30.5)); r.repetition = gdstk.Repetition(2, 1, v1=(5,0), v2=(0,0)); top.add(r)
top.add(gdstk.Reference(pat1, (22.5,26.5)))
r = gdstk.Reference(pat1, (19.5,27.5)); r.repetition = gdstk.Repetition(2, 1, v1=(5,0), v2=(0,0)); top.add(r)
top.add(gdstk.Reference(pat1, (21.5,28.5)))
top.add(gdstk.Reference(pat1, (23.5,29.5)))
top.add(gdstk.Reference(pat1, (14.5,17.5)))
top.add(gdstk.Reference(pat1, (13.5,19.5)))
top.add(gdstk.Reference(pat1, (15.5,25.5)))
top.add(gdstk.Reference(pat1, (12.5,26.5)))
top.add(gdstk.Reference(pat1, (14.5,27.5)))
r = gdstk.Reference(pat1, (15.5,15.5)); r.repetition = gdstk.Repetition(2, 1, v1=(5,0), v2=(0,0)); top.add(r)
top.add(gdstk.Reference(pat1, (17.5,16.5)))
r = gdstk.Reference(pat1, (14.5,17.5)); r.repetition = gdstk.Repetition(2, 1, v1=(5,0), v2=(0,0)); top.add(r)
top.add(gdstk.Reference(pat1, (16.5,13.5)))
top.add(gdstk.Reference(pat1, (18.5,14.5)))
r = gdstk.Reference(pat1, (15.5,20.5)); r.repetition = gdstk.Repetition(2, 1, v1=(5,0), v2=(0,0)); top.add(r)
top.add(gdstk.Reference(pat1, (25.5,15.5)))
top.add(gdstk.Reference(pat1, (24.5,17.5)))
top.add(gdstk.Reference(pat1, (26.5,13.5)))
top.add(gdstk.Reference(pat1, (25.5,20.5)))
top.add(gdstk.Reference(pat1, (24.5,17.5)))
top.add(gdstk.Reference(pat1, (26.5,18.5)))
top.add(gdstk.Reference(pat1, (25.5,25.5)))
top.add(gdstk.Reference(pat1, (24.5,27.5)))
top.add(gdstk.Reference(pat1, (26.5,23.5)))
top.add(gdstk.Reference(pat1, (25.5,30.5)))
top.add(gdstk.Reference(pat1, (24.5,27.5)))
top.add(gdstk.Reference(pat1, (26.5,28.5)))
top.add(gdstk.Reference(pat1, (17.5,16.5)))
r = gdstk.Reference(pat1, (14.5,17.5)); r.repetition = gdstk.Repetition(2, 1, v1=(5,0), v2=(0,0)); top.add(r)
top.add(gdstk.Reference(pat1, (16.5,18.5)))
top.add(gdstk.Reference(pat1, (18.5,19.5)))
r = gdstk.Reference(pat1, (15.5,25.5)); r.repetition = gdstk.Repetition(2, 1, v1=(5,0), v2=(0,0)); top.add(r)
top.add(gdstk.Reference(pat1, (17.5,26.5)))
r = gdstk.Reference(pat1, (14.5,27.5)); r.repetition = gdstk.Repetition(2, 1, v1=(5,0), v2=(0,0)); top.add(r)
top.add(gdstk.Reference(pat1, (16.5,23.5)))
top.add(gdstk.Reference(pat1, (18.5,24.5)))
r = gdstk.Reference(pat1, (15.5,30.5)); r.repetition = gdstk.Repetition(2, 1, v1=(5,0), v2=(0,0)); top.add(r)
top.add(gdstk.Reference(pat1, (17.5,26.5)))
r = gdstk.Reference(pat1, (14.5,27.5)); r.repetition = gdstk.Repetition(2, 1, v1=(5,0), v2=(0,0)); top.add(r)
top.add(gdstk.Reference(pat1, (16.5,28.5)))
top.add(gdstk.Reference(pat1, (18.5,29.5)))
top.add(gdstk.Reference(pat1, (13.5,24.5)))
top.add(gdstk.Reference(pat1, (15.5,30.5)))
top.add(gdstk.Reference(pat1, (12.5,26.5)))
top.add(gdstk.Reference(pat1, (14.5,27.5)))
top.add(gdstk.Reference(pat1, (13.5,29.5)))
top.add(gdstk.Reference(pat1, (15.5,15.5)))
top.add(gdstk.Reference(pat1, (12.5,16.5)))
top.add(gdstk.Reference(pat1, (14.5,17.5)))
top.add(gdstk.Reference(pat1, (13.5,14.5)))
top.add(gdstk.Reference(pat1, (15.5,20.5)))
top.add(gdstk.Reference(pat1, (12.5,16.5)))
r = gdstk.Reference(pat1, (20.5,15.5)); r.repetition = gdstk.Repetition(2, 1, v1=(5,0), v2=(0,0)); top.add(r)
top.add(gdstk.Reference(pat1, (22.5,16.5)))
r = gdstk.Reference(pat1, (19.5,17.5)); r.repetition = gdstk.Repetition(2, 1, v1=(5,0), v2=(0,0)); top.add(r)
top.add(gdstk.Reference(pat1, (21.5,13.5)))
top.add(gdstk.Reference(pat1, (23.5,14.5)))
r = gdstk.Reference(pat1, (20.5,20.5)); r.repetition = gdstk.Repetition(2, 1, v1=(5,0), v2=(0,0)); top.add(r)
top.add(gdstk.Reference(pat1, (22.5,16.5)))
r = gdstk.Reference(pat1, (19.5,17.5)); r.repetition = gdstk.Repetition(2, 1, v1=(5,0), v2=(0,0)); top.add(r)
top.add(gdstk.Reference(pat1, (21.5,18.5)))
top.add(gdstk.Reference(pat1, (23.5,19.5)))
r = gdstk.Reference(pat1, (20.5,25.5)); r.repetition = gdstk.Repetition(2, 1, v1=(5,0), v2=(0,0)); top.add(r)
top.add(gdstk.Reference(pat1, (22.5,26.5)))
r = gdstk.Reference(pat1, (19.5,27.5)); r.repetition = gdstk.Repetition(2, 1, v1=(5,0), v2=(0,0)); top.add(r)
top.add(gdstk.Reference(pat1, (85.5,0.5)))
top.add(gdstk.Reference(pat1, (85.5,0.5)))
top.add(gdstk.Reference(pat1, (87.5,1.5)))
r = gdstk.Reference(pat1, (84.5,2.5)); r.repetition = gdstk.Repetition(2, 1, v1=(5,0), v2=(0,0)); top.add(r)
top.add(gdstk.Reference(pat1, (85.5,5.5)))
r = gdstk.Reference(pat1, (87.5,1.5)); r.repetition = gdstk.Repetition(1, 2, v1=(0,0), v2=(0,5)); top.add(r)
r = gdstk.Reference(pat1, (84.5,2.5)); r.repetition = gdstk.Repetition(2, 2, v1=(5,0), v2=(0,5)); top.add(r)
top.add(gdstk.Reference(pat1, (86.5,3.5)))
top.add(gdstk.Reference(pat1, (88.5,4.5)))
top.add(gdstk.Reference(pat1, (87.5,6.5)))
r = gdstk.Reference(pat1, (84.5,7.5)); r.repetition = gdstk.Repetition(2, 1, v1=(5,0), v2=(0,0)); top.add(r)
top.add(gdstk.Reference(pat1, (84.5,2.5)))
top.add(gdstk.Reference(pat1, (85.5,5.5)))
r = gdstk.Reference(pat1, (84.5,2.5)); r.repetition = gdstk.Repetition(1, 2, v1=(0,0), v2=(0,5)); top.add(r)
top.add(gdstk.Reference(pat1, (84.5,7.5)))
top.add(gdstk.Reference(pat1, (89.5,2.5)))
r = gdstk.Reference(pat1, (89.5,2.5)); r.repetition = gdstk.Repetition(1, 2, v1=(0,0), v2=(0,5)); top.add(r)
top.add(gdstk.Reference(pat1, (89.5,7.5)))

lib.write_gds('TOP.gds')
